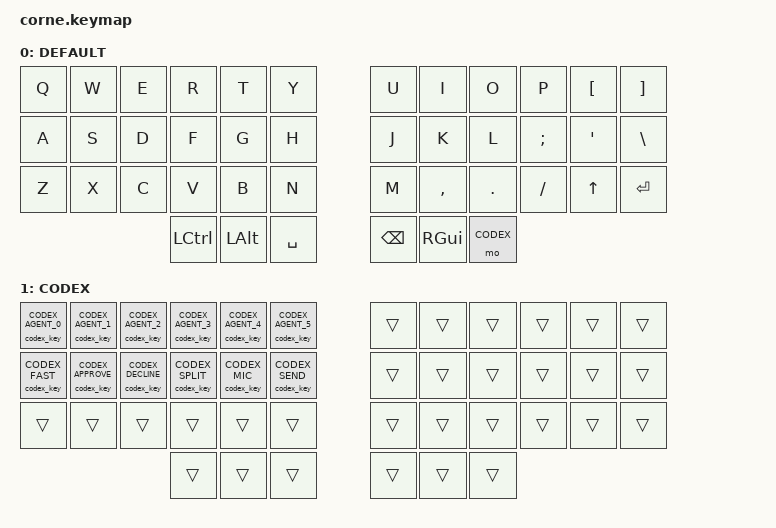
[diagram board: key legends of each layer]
/* SPDX-License-Identifier: MIT */

#include <behaviors.dtsi>
#include <behaviors/codex_key.dtsi>
#include <dt-bindings/zmk/keys.h>
#include <dt-bindings/nxtkb/codex.h>

#define DEFAULT 0
#define CODEX 1

/ {
    keymap {
        compatible = "zmk,keymap";

        default_layer {
            display-name = "DEFAULT";
            bindings = <
                &kp Q      &kp W     &kp E      &kp R      &kp T       &kp Y      &kp U      &kp I      &kp O      &kp P      &kp LBKT   &kp RBKT
                &kp A      &kp S     &kp D      &kp F      &kp G       &kp H      &kp J      &kp K      &kp L      &kp SEMI   &kp SQT    &kp BSLH
                &kp Z      &kp X     &kp C      &kp V      &kp B       &kp N      &kp M      &kp COMMA  &kp DOT    &kp FSLH   &kp UP     &kp ENTER
                                      &kp LCTRL  &kp LALT   &kp SPACE   &kp BSPC   &kp RGUI   &mo CODEX
            >;
        };

        codex_layer {
            display-name = "CODEX";
            bindings = <
                &codex_key CODEX_AGENT_0  &codex_key CODEX_AGENT_1  &codex_key CODEX_AGENT_2  &codex_key CODEX_AGENT_3  &codex_key CODEX_AGENT_4  &codex_key CODEX_AGENT_5  &trans                    &trans                       &trans                     &trans                    &trans  &trans
                &codex_key CODEX_FAST     &codex_key CODEX_APPROVE  &codex_key CODEX_DECLINE  &codex_key CODEX_SPLIT    &codex_key CODEX_MIC      &codex_key CODEX_SEND     &trans                    &trans                       &trans                     &trans                    &trans  &trans
                &trans                    &trans                     &trans                     &trans                     &trans                    &trans                    &trans                    &trans                       &trans                     &trans                    &trans  &trans
                                                                                       &trans  &trans  &trans  &trans  &trans  &trans
            >;
        };
    };
};
